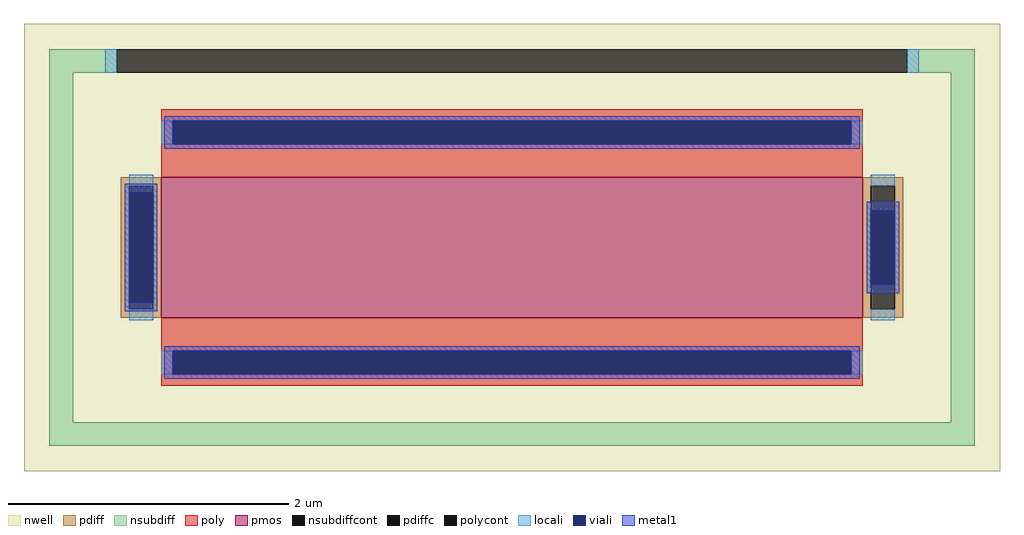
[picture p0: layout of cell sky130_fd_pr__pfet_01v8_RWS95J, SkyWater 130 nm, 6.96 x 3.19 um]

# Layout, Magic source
magic
tech sky130B
magscale 1 2
<< nwell >>
rect -696 -319 696 319
<< pmos >>
rect -500 -100 500 100
<< pdiff >>
rect -558 88 -500 100
rect -558 -88 -546 88
rect -512 -88 -500 88
rect -558 -100 -500 -88
rect 500 88 558 100
rect 500 -88 512 88
rect 546 -88 558 88
rect 500 -100 558 -88
<< pdiffc >>
rect -546 -88 -512 88
rect 512 -88 546 88
<< nsubdiff >>
rect -660 249 -564 283
rect 564 249 660 283
rect -660 -249 -626 249
rect 626 -249 660 249
rect -660 -283 660 -249
<< nsubdiffcont >>
rect -564 249 564 283
<< poly >>
rect -500 181 500 197
rect -500 147 -484 181
rect 484 147 500 181
rect -500 100 500 147
rect -500 -147 500 -100
rect -500 -181 -484 -147
rect 484 -181 500 -147
rect -500 -197 500 -181
<< polycont >>
rect -484 147 484 181
rect -484 -181 484 -147
<< locali >>
rect -580 249 -564 283
rect 564 249 580 283
rect -500 147 -484 181
rect 484 147 500 181
rect -546 88 -512 104
rect -546 -104 -512 -88
rect 512 88 546 104
rect 512 -104 546 -88
rect -500 -181 -484 -147
rect 484 -181 500 -147
<< viali >>
rect -484 147 484 181
rect -546 -79 -512 79
rect 512 -53 546 53
rect -484 -181 484 -147
<< metal1 >>
rect -496 181 496 187
rect -496 147 -484 181
rect 484 147 496 181
rect -496 141 496 147
rect -552 79 -506 91
rect -552 -79 -546 79
rect -512 -79 -506 79
rect 506 53 552 65
rect 506 -53 512 53
rect 546 -53 552 53
rect 506 -65 552 -53
rect -552 -91 -506 -79
rect -496 -147 496 -141
rect -496 -181 -484 -147
rect 484 -181 496 -147
rect -496 -187 496 -181
<< properties >>
string FIXED_BBOX -643 -266 643 266
string gencell sky130_fd_pr__pfet_01v8
string library sky130
string parameters w 1 l 5 m 1 nf 1 diffcov 100 polycov 100 guard 1 glc 0 grc 0 gtc 1 gbc 0 tbcov 100 rlcov 100 topc 1 botc 1 poverlap 0 doverlap 1 lmin 0.15 wmin 0.42 compatible {sky130_fd_pr__pfet_01v8  sky130_fd_pr__pfet_01v8_lvt sky130_fd_pr__pfet_01v8_hvt  sky130_fd_pr__pfet_g5v0d10v5} full_metal 0 viasrc 60 viadrn 90 viagate 100 viagb 0 viagr 0 viagl 0 viagt 0
<< end >>
